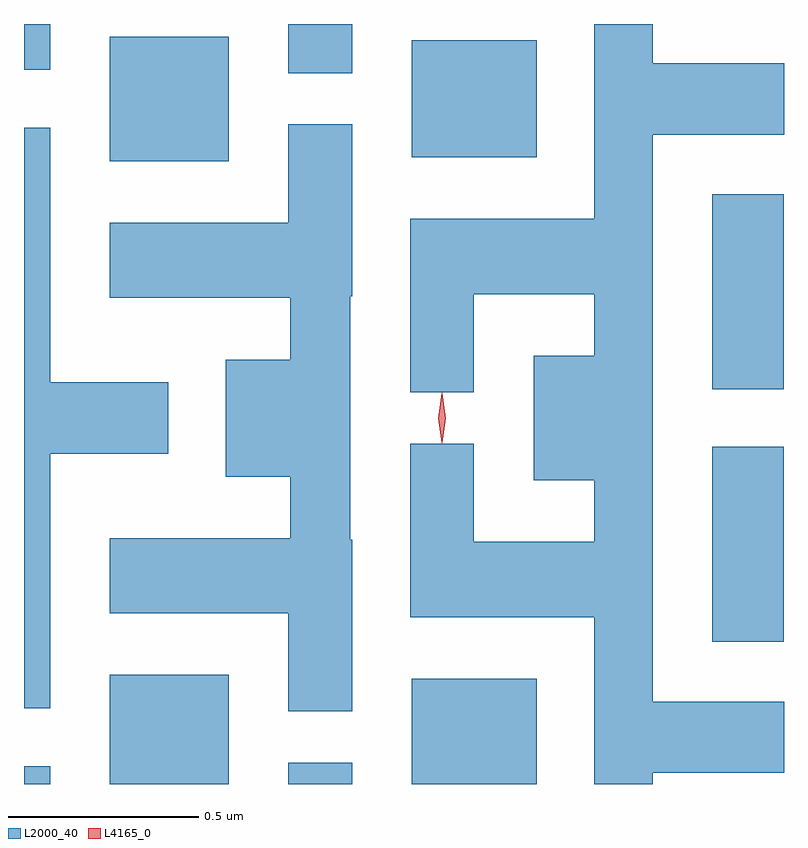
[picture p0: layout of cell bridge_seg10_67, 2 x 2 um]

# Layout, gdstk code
import gdstk
lib = gdstk.Library(unit=1e-6, precision=1e-09)
def R(c, l, rs):  # rectangles x0, y0, x1, y1
    for r in rs: c.add(gdstk.rectangle(r[:2], r[2:], *l))
def P(c, l, *ps):  # polygons
    for p in ps: c.add(gdstk.Polygon(p, *l))
L2000_40 = (2000, 40)
L4165_0 = (4165, 0)

bridge_seg10_67 = lib.new_cell('bridge_seg10_67')
R(bridge_seg10_67, L2000_40, [(1623.905,2166.527,1623.974,2166.574), (1624.131,2166.527,1624.444,2166.814), (1624.601,2166.527,1624.769,2166.583), (1624.926,2166.527,1625.254,2166.804), (1625.716,2166.901,1625.904,2167.414), (1625.716,2167.566,1625.904,2168.079), (1624.131,2168.166,1624.444,2168.494), (1624.926,2168.176,1625.254,2168.484), (1624.601,2168.398,1624.769,2168.527), (1623.905,2168.406,1623.974,2168.527)])
P(bridge_seg10_67, L2000_40, [(1625.406,2167.326),(1625.406,2167.164),(1625.089,2167.164),(1625.089,2167.423),(1624.921,2167.423),(1624.921,2166.966),(1625.406,2166.966),(1625.406,2166.527),(1625.559,2166.527),(1625.559,2166.556),(1625.905,2166.556),(1625.905,2166.744),(1625.559,2166.744),(1625.559,2168.236),(1625.905,2168.236),(1625.905,2168.424),(1625.559,2168.424),(1625.559,2168.527),(1625.406,2168.527),(1625.406,2168.014),(1624.921,2168.014),(1624.921,2167.558),(1625.089,2167.558),(1625.089,2167.816),(1625.406,2167.816),(1625.406,2167.654),(1625.246,2167.654),(1625.246,2167.326)],
  [(1624.769,2167.17),(1624.764,2167.17),(1624.764,2167.81),(1624.769,2167.81),(1624.769,2168.263),(1624.601,2168.263),(1624.601,2168.004),(1624.131,2168.004),(1624.131,2167.806),(1624.606,2167.806),(1624.606,2167.644),(1624.436,2167.644),(1624.436,2167.336),(1624.606,2167.336),(1624.606,2167.174),(1624.131,2167.174),(1624.131,2166.976),(1624.601,2166.976),(1624.601,2166.718),(1624.769,2166.718)],
  [(1623.974,2167.396),(1624.284,2167.396),(1624.284,2167.584),(1623.974,2167.584),(1623.974,2168.254),(1623.905,2168.254),(1623.905,2166.726),(1623.974,2166.726)])
P(bridge_seg10_67, L4165_0, [(1625.005,2167.424),(1625.004,2167.425),(1624.995,2167.49),(1625.004,2167.555),(1625.005,2167.556),(1625.005,2167.555),(1625.015,2167.49),(1625.005,2167.425)])

lib.write_gds('bridge_seg10_67.gds')
